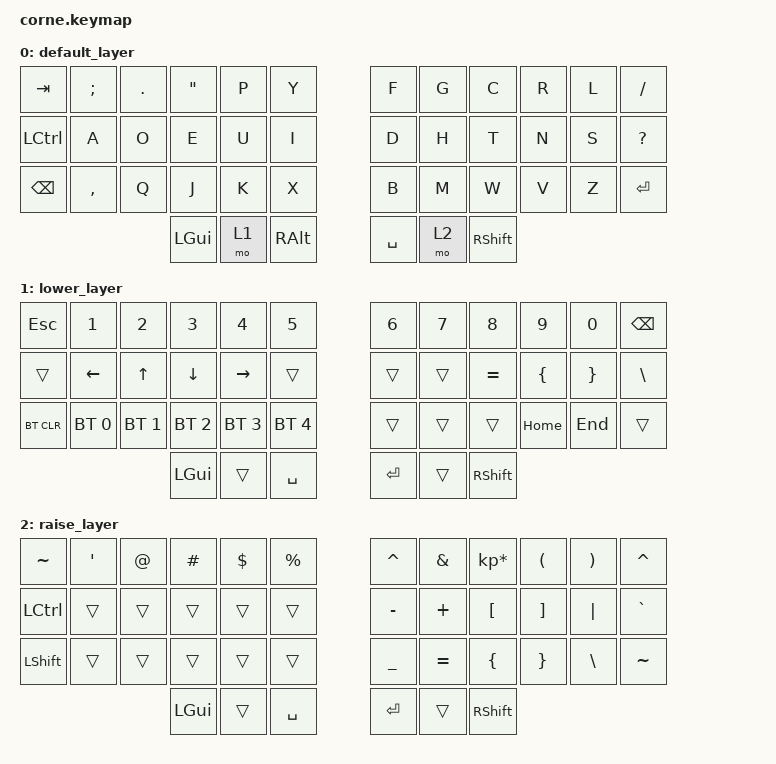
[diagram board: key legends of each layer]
/*
 * Copyright (c) 2020 The ZMK Contributors
 *
 * SPDX-License-Identifier: MIT
 */

#include <behaviors.dtsi>
#include <dt-bindings/zmk/keys.h>
#include <dt-bindings/zmk/bt.h>

/ {
        keymap {
                compatible = "zmk,keymap";

                default_layer {
// -----------------------------------------------------------------------------------------
// |  TAB |  Q  |  W  |  E  |  R  |  T  |   |  Y  |  U   |  I  |  O  |  P  | BKSP |
// | CTRL |  A  |  S  |  D  |  F  |  G  |   |  H  |  J   |  K  |  L  |  ;  |  '   |
// | SHFT |  Z  |  X  |  C  |  V  |  B  |   |  N  |  M   |  ,  |  .  |  /  | ESC  |
//                    | GUI | LWR | SPC |   | ENT | RSE  | ALT |
                        bindings = <
   &kp TAB   &kp SEMI  &kp DOT &kp DQT &kp P &kp Y   &kp F &kp G  &kp C &kp R &kp L &kp SLASH
   &kp LCTRL &kp A     &kp O   &kp E   &kp U &kp I   &kp D &kp H  &kp T &kp N &kp S &kp QUESTION
   &kp BSPC  &kp COMMA &kp Q   &kp J   &kp K &kp X   &kp B &kp M  &kp W &kp V &kp Z &kp ENTER
                  &kp LGUI &mo 1 &kp RALT   &kp SPACE &mo 2 &kp RSHFT
                        >;
                };
                lower_layer {
// -----------------------------------------------------------------------------------------
// |  TAB |  1  |  2  |  3  |  4  |  5  |   |  6  |  7  |  8  |  9  |  0  | BKSP |
// | BTCLR| BT1 | BT2 | BT3 | BT4 | BT5 |   | LFT | DWN |  UP | RGT |     |      |
// | SHFT |     |     |     |     |     |   |     |     |     |     |     |      |
//                    | GUI |     | SPC |   | ENT |     | ALT |
                        bindings = <
   &kp ESC    &kp N1       &kp N2       &kp N3       &kp N4       &kp N5         &kp N6   &kp N7  &kp N8    &kp N9    &kp N0    &kp BSPC
   &trans     &kp LEFT     &kp UP       &kp DOWN     &kp RIGHT    &trans         &trans   &trans  &kp EQUAL &kp LBRC  &kp RBRC  &kp BSLH
   &bt BT_CLR &bt BT_SEL 0 &bt BT_SEL 1 &bt BT_SEL 2 &bt BT_SEL 3 &bt BT_SEL 4   &trans   &trans  &trans    &kp HOME &kp END &trans
                          	        &kp LGUI     &trans       &kp SPACE      &kp RET  &trans   &kp RSHFT
                        >;
                };


                raise_layer {
// -----------------------------------------------------------------------------------------
// |  TAB |  !  |  @  |  #  |  $  |  %  |   |  ^  |  &  |  *  |  (  |  )  | BKSP |
// | CTRL |     |     |     |     |     |   |  -  |  =  |  [  |  ]  |  \  |  `   |
// | SHFT |     |     |     |     |     |   |  _  |  +  |  {  |  }  | "|" |  ~   |
//                    | GUI |     | SPC |   | ENT |     | ALT |
                        bindings = <
   &kp TILDE  &kp SQT &kp AT &kp HASH &kp DLLR &kp PRCNT   &kp CARET &kp AMPS  &kp KP_MULTIPLY &kp LPAR &kp RPAR &kp CARET
   &kp LCTRL &trans   &trans &trans   &trans   &trans      &kp MINUS &kp PLUS  &kp LBKT        &kp RBKT &kp PIPE &kp GRAVE
   &kp LSHFT &trans   &trans &trans   &trans   &trans      &kp UNDER &kp EQUAL &kp LBRC        &kp RBRC &kp BSLH &kp TILDE
                    	     &kp LGUI &trans   &kp SPACE   &kp RET   &trans    &kp RSHFT
                        >;
                };
        };
};
